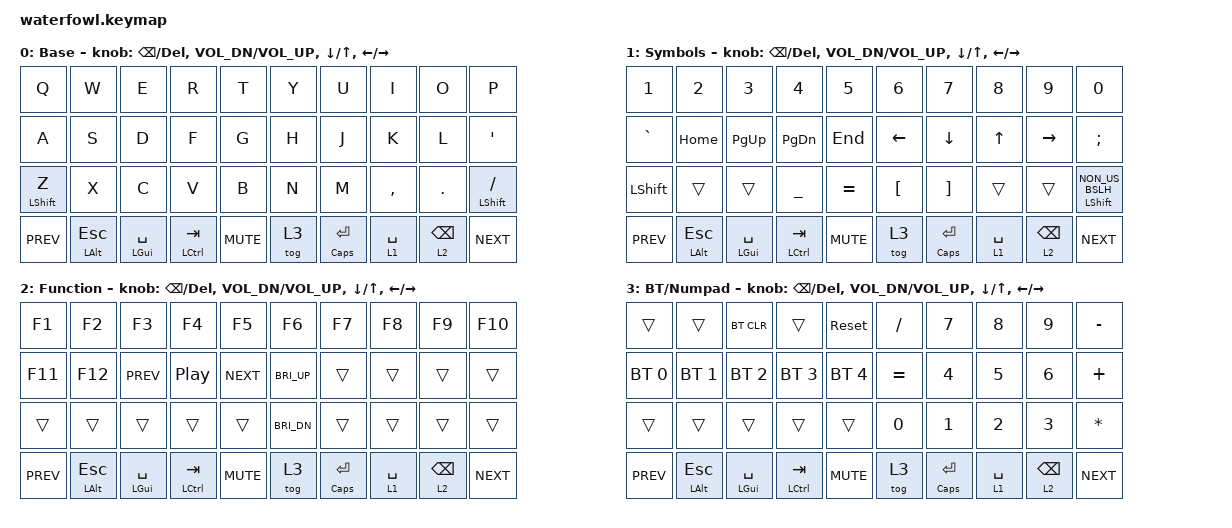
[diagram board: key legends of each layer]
/*
 * Copyright (c) 2022 The ZMK Contributors
 *
 * SPDX-License-Identifier: MIT
 */

#include <behaviors.dtsi>
#include <dt-bindings/zmk/keys.h>
#include <dt-bindings/zmk/bt.h>

/ {
    keymap {
        compatible = "zmk,keymap";

/* Layer 0: Base keys
 * ,----------------------------------.                    ,----------------------------------.
 * |  Q   |  W   |  E   |  R   |  T   |                    |  Y   |  U   |  I   |  O   |  P   |
 * |------+------+------+------+------|                    |------+------+------+------+------|
 * |  A   |  S   |  D   |  F   |  G   |                    |  H   |  J   |  K   |  L   |  '"  |
 * |------+------+------+------+------|  ,----.    ,----.  |------+------+------+------+------|
 * |SHFT/Z|  X   |  C   |  V   |  B   |  |MUTE|    | L4 |  |  N   |  M   |  ,<  |  .>  |SHFT/?|
 * `----------------------------------'  `----'    `----'  `----------------------------------'
 *      ,----.   ,---------------------------.      ,---------------------------.   ,----.
 *      |PREV|   |OPT/ESC | CMD/SPC | CTR/TAB|      |CAPS/RET | L1/SPC | L2/BSC |   |NEXT|
 *      `----'   `---------------------------'      `---------------------------'   `----'
*/
        default_layer {
            display-name = "Base";
            bindings = <
                &kp Q       &kp W           &kp E           &kp R           &kp T       &kp Y   &kp U           &kp I           &kp O         &kp P
                &kp A       &kp S           &kp D           &kp F           &kp G       &kp H   &kp J           &kp K           &kp L         &kp APOS
                &mt LSHFT Z &kp X           &kp C           &kp V           &kp B       &kp N   &kp M           &kp COMMA       &kp DOT       &mt LSHFT FSLH
                &kp C_PREV  &mt LALT ESC    &mt LGUI SPACE  &mt LCTRL TAB   &kp C_MUTE  &tog 3   &mt CAPS RET    &lt 1 SPACE     &lt 2 BSPC    &kp C_NEXT
            >;

            sensor-bindings = <
                &inc_dec_kp BSPC DEL
                &inc_dec_kp C_VOL_DN C_VOL_UP
                &inc_dec_kp DOWN UP
                &inc_dec_kp LEFT RIGHT
            >;
        };

/* Layer 1: Symbols
 * ,----------------------------------.                    ,----------------------------------.
 * |  1!  |  2@  |  3#  |  4$  |  5%  |                    |  6^  |  7&  |  8*  |  9(  |  0)  |
 * |------+------+------+------+------|                    |------+------+------+------+------|
 * |  `~  | HOME | PGUP | PGDN |  END |                    | LEFT | DOWN |  UP  | RGHT |  ;:  |
 * |------+------+------+------+------|  ,----.    ,----.  |------+------+------+------+------|
 * | SHFT |      |      |  -_  |  =+  |  |MUTE|    | L4 |  |  [{  |  ]}  |      |      |  \|  |
 * `----------------------------------'  `----'    `----'  `----------------------------------'
 *      ,----.   ,---------------------------.      ,---------------------------.   ,----.
 *      |PREV|   |OPT/ESC | CMD/SPC | CTR/TAB|      |CAPS/RET | L1/SPC | L2/BSC |   |NEXT|
 *      `----'   `---------------------------'      `---------------------------'   `----'
*/
        symbol_layer {
            display-name = "Symbols";
            bindings = <
                &kp N1      &kp N2          &kp N3          &kp N4          &kp N5      &kp N6      &kp N7          &kp N8       &kp N9         &kp N0
                &kp GRAVE   &kp HOME        &kp PG_UP       &kp PG_DN       &kp END     &kp LEFT    &kp DOWN        &kp UP       &kp RIGHT      &kp SEMI
                &kp LSHFT   &trans          &trans          &kp UNDER       &kp EQUAL   &kp LBKT    &kp RBKT        &trans       &trans         &mt LSHIFT NON_US_BSLH
                &kp C_PREV  &mt LALT ESC    &mt LGUI SPACE  &mt LCTRL TAB   &kp C_MUTE  &tog 3       &mt CAPS RET    &lt 1 SPACE  &lt 2 BSPC     &kp C_NEXT
            >;

            sensor-bindings = <
                &inc_dec_kp BSPC DEL
                &inc_dec_kp C_VOL_DN C_VOL_UP
                &inc_dec_kp DOWN UP
                &inc_dec_kp LEFT RIGHT
            >;
        };

/* Layer 2: Function keys
 * ,----------------------------------.                    ,----------------------------------.
 * |  F1  |  F2  |  F3  |  F4  |  F5  |                    |  F6  |  F7  |  F8  |  F9  |  F10 |
 * |------+------+------+------+------|                    |------+------+------+------+------|
 * | F11  | F12  |PREV  |PLAY  |NEXT  |                    | Br+  |      |      |      |      |
 * |------+------+------+------+------|  ,----.    ,----.  |------+------+------+------+------|
 * |      |      |      |      |      |  |MUTE|    | L4 |  | Br-  |      |      |      |      |
 * `----------------------------------'  `----'    `----'  `----------------------------------'
 *      ,----.   ,---------------------------.      ,---------------------------.   ,----.
 *      |PREV|   |OPT/ESC | CMD/SPC | CTR/TAB|      |CAPS/RET | L1/SPC | L2/BSC |   |NEXT|
 *      `----'   `---------------------------'      `---------------------------'   `----'
*/
        function_layer {
            display-name = "Function";
            bindings = <
                &kp F1      &kp F2          &kp F3          &kp F4              &kp F5      &kp F6          &kp F7          &kp F8          &kp F9          &kp F10
                &kp F11     &kp F12         &kp C_PREV      &kp C_PLAY_PAUSE    &kp C_NEXT  &kp C_BRI_UP    &trans          &trans          &trans          &trans
                &trans      &trans          &trans          &trans              &trans      &kp C_BRI_DN    &trans          &trans          &trans          &trans
                &kp C_PREV  &mt LALT ESC    &mt LGUI SPACE  &mt LCTRL TAB       &kp C_MUTE  &tog 3           &mt CAPS RET    &lt 1 SPACE     &lt 2 BSPC      &kp C_NEXT
            >;

            sensor-bindings = <
                &inc_dec_kp BSPC DEL
                &inc_dec_kp C_VOL_DN C_VOL_UP
                &inc_dec_kp DOWN UP
                &inc_dec_kp LEFT RIGHT
            >;
        };

/* CONFIG
 *
 * ,----------------------------------.                    ,----------------------------------.
 * |      |      | BTCLR|      | Reset|                    |  /   |  7   |  8   |  9   |  -   |
 * |------+------+------+------+------|                    |------+------+------+------+------|
 * |  BT0 |  BT1 |  BT2 |  BT3 |  BT4 |                    |  =   |  4   |  5   |  6   |  +   |
 * |------+------+------+------+------|  ,----.    ,----.  |------+------+------+------+------|
 * |      |      |      |      |      |  |MUTE|    |HOLD|  |  0   |  1   |  2   |  3   |  *   |
 * `----------------------------------'  `----'    `----'  `----------------------------------'
 *      ,----.   ,---------------------------.      ,---------------------------.   ,----.
 *      |PREV|   |OPT/ESC | CMD/SPC | CTR/TAB|      |CAPS/RET | L1/SPC | L2/BSC |   |NEXT|
 *      `----'   `---------------------------'      `---------------------------'   `----'
 */
        config_layer {
            display-name = "BT/Numpad";
            bindings = <
                &trans          &trans          &bt BT_CLR      &trans          &sys_reset      &kp FSLH    &kp N7          &kp N8          &kp N9      &kp MINUS
                &bt BT_SEL 0    &bt BT_SEL 1    &bt BT_SEL 2    &bt BT_SEL 3    &bt BT_SEL 4    &kp EQUAL   &kp N4          &kp N5          &kp N6      &kp PLUS
                &trans          &trans          &trans          &trans          &trans          &kp N0      &kp N1          &kp N2          &kp N3      &kp ASTERISK
                &kp C_PREV      &mt LALT ESC    &mt LGUI SPACE  &mt LCTRL TAB   &kp C_MUTE      &tog 3       &mt CAPS RET    &lt 1 SPACE     &lt 2 BSPC  &kp C_NEXT
            >;

            sensor-bindings = <
                &inc_dec_kp BSPC DEL
                &inc_dec_kp C_VOL_DN C_VOL_UP
                &inc_dec_kp DOWN UP
                &inc_dec_kp LEFT RIGHT
            >;
        };

    };
};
